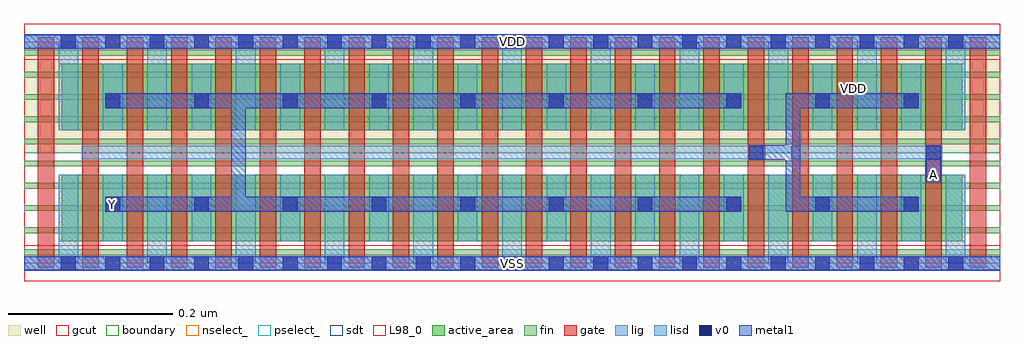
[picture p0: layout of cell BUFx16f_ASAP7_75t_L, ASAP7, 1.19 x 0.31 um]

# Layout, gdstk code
import gdstk
lib = gdstk.Library(unit=1e-6, precision=2.5e-10)
def R(c, l, rs):  # rectangles x0, y0, x1, y1
    for r in rs: c.add(gdstk.rectangle(r[:2], r[2:], *l))
def A(c, l, x, y, w, h, nx, ny, dx, dy):  # array of equal rectangles
    R(c, l, [(x+i*dx, y+j*dy, x+i*dx+w, y+j*dy+h) for i in range(nx) for j in range(ny)])
def P(c, l, *ps):  # polygons
    for p in ps: c.add(gdstk.Polygon(p, *l))
well = (1, 0)
fin = (2, 0)
gate = (7, 0)
gcut = (10, 0)
active_area = (11, 0)
nselect_ = (12, 0)
pselect_ = (13, 0)
lig = (16, 0)
lisd = (17, 0)
v0 = (18, 0)
metal1 = (19, 0)
sdt = (88, 0)
L98_0 = (98, 0)
boundary = (100, 0)

bufx16f_asap7_75t_l = lib.new_cell('BUFx16f_ASAP7_75t_L')
R(bufx16f_asap7_75t_l, well, [(0,0.135,1.188,0.27)])
A(bufx16f_asap7_75t_l, fin, 0, 0.01, 1.188, 0.007, 1, 10, 0, 0.027)
A(bufx16f_asap7_75t_l, gate, 0.017, -0.005, 0.02, 0.28, 22, 1, 0.054, 0)
R(bufx16f_asap7_75t_l, gcut, [(0,-0.022,1.188,0.022), (0,0.248,1.188,0.292)])
R(bufx16f_asap7_75t_l, active_area, [(0.046,0.027,1.142,0.108), (0.046,0.162,1.142,0.243)])
R(bufx16f_asap7_75t_l, nselect_, [(0,0,1.188,0.135)])
R(bufx16f_asap7_75t_l, pselect_, [(0,0.135,1.188,0.27)])
R(bufx16f_asap7_75t_l, lig, [(0,-0.008,1.188,0.008), (0.07,0.127,0.902,0.143), (0.934,0.127,1.118,0.143), (0,0.262,1.188,0.278)])
A(bufx16f_asap7_75t_l, lisd, 0.042, 0, 0.024, 0.108, 11, 2, 0.108, 0.162)
A(bufx16f_asap7_75t_l, lisd, 0.096, 0.027, 0.024, 0.081, 10, 2, 0.108, 0.135)
A(bufx16f_asap7_75t_l, v0, 0.045, -0.009, 0.018, 0.018, 21, 2, 0.054, 0.27)
A(bufx16f_asap7_75t_l, v0, 0.099, 0.063, 0.018, 0.018, 10, 2, 0.108, 0.126)
R(bufx16f_asap7_75t_l, v0, [(0.882,0.126,0.9,0.144), (1.098,0.126,1.116,0.144)])
R(bufx16f_asap7_75t_l, metal1, [(0,-0.009,1.188,0.009), (1.098,0.099,1.116,0.144), (0,0.261,1.188,0.279)])
P(bufx16f_asap7_75t_l, metal1, [(1.089,0.081),(0.945,0.081),(0.945,0.189),(1.089,0.189),(1.089,0.207),(0.927,0.207),(0.927,0.144),(0.882,0.144),(0.882,0.126),(0.927,0.126),(0.927,0.063),(1.089,0.063)],
  [(0.873,0.081),(0.27,0.081),(0.27,0.189),(0.873,0.189),(0.873,0.207),(0.099,0.207),(0.099,0.189),(0.252,0.189),(0.252,0.081),(0.099,0.081),(0.099,0.063),(0.873,0.063)])
A(bufx16f_asap7_75t_l, sdt, 0.042, 0.027, 0.024, 0.081, 21, 2, 0.054, 0.135)
R(bufx16f_asap7_75t_l, L98_0, [(0,0,1.188,0.27)])
R(bufx16f_asap7_75t_l, boundary, [(0,0,1.188,0.27)])
bufx16f_asap7_75t_l.add(gdstk.Label('A', (1.107,0.108), layer=19, texttype=251))
bufx16f_asap7_75t_l.add(gdstk.Label('Y', (0.108,0.072), layer=19, texttype=251))
bufx16f_asap7_75t_l.add(gdstk.Label('VSS', (0.594,0), layer=19, texttype=251))
bufx16f_asap7_75t_l.add(gdstk.Label('VDD', (0.594,0.27), layer=19, texttype=251))
bufx16f_asap7_75t_l.add(gdstk.Label('VDD', (1.01,0.213), layer=1, texttype=251))
bufx16f_asap7_75t_l.add(gdstk.Label('VSS', (1.366,0.213), layer=3, texttype=251))

lib.write_gds('BUFx16f_ASAP7_75t_L.gds')
